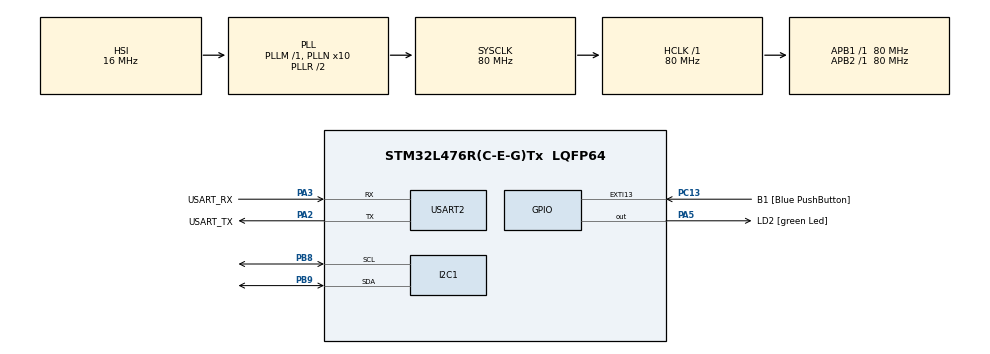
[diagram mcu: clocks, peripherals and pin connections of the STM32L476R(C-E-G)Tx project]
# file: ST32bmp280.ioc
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I2C1.Timing=0x10909CEC
Mcu.Family=STM32L4
Mcu.Name=STM32L476R(C-E-G)Tx
Mcu.Package=LQFP64
NVIC.PriorityGroup=NVIC_PRIORITYGROUP_4
PA13\ (JTMS-SWDIO).GPIO_Label=TMS
PA13\ (JTMS-SWDIO).Mode=Serial_Wire
PA13\ (JTMS-SWDIO).Signal=SYS_JTMS-SWDIO
PA14\ (JTCK-SWCLK).GPIO_Label=TCK
PA14\ (JTCK-SWCLK).Mode=Serial_Wire
PA14\ (JTCK-SWCLK).Signal=SYS_JTCK-SWCLK
PA2.GPIO_Label=USART_TX
PA2.GPIO_Mode=GPIO_MODE_AF_PP
PA2.GPIO_PuPd=GPIO_NOPULL
PA2.GPIO_Speed=GPIO_SPEED_FREQ_VERY_HIGH
PA2.Mode=Asynchronous
PA2.Signal=USART2_TX
PA3.GPIO_Label=USART_RX
PA3.GPIO_Mode=GPIO_MODE_AF_PP
PA3.GPIO_PuPd=GPIO_NOPULL
PA3.GPIO_Speed=GPIO_SPEED_FREQ_VERY_HIGH
PA3.Mode=Asynchronous
PA3.Signal=USART2_RX
PA5.GPIO_Label=LD2 [green Led]
PA5.GPIO_ModeDefaultOutputPP=GPIO_MODE_OUTPUT_PP
PA5.GPIO_PuPd=GPIO_NOPULL
PA5.GPIO_Speed=GPIO_SPEED_FREQ_LOW
PA5.Signal=GPIO_Output
PB3\ (JTDO-TRACESWO).GPIO_Label=SWO
PB3\ (JTDO-TRACESWO).Signal=SYS_JTDO-SWO
PB8.Mode=I2C
PB8.Signal=I2C1_SCL
PB9.Mode=I2C
PB9.Signal=I2C1_SDA
PC13.GPIO_Label=B1 [Blue PushButton]
PC13.GPIO_ModeDefaultEXTI=GPIO_MODE_IT_FALLING
PC13.GPIO_PuPd=GPIO_NOPULL
PC13.Signal=GPXTI13
PC14-OSC32_IN\ (PC14).Mode=LSE-External-Oscillator
PC14-OSC32_IN\ (PC14).Signal=RCC_OSC32_IN
PC15-OSC32_OUT\ (PC15).Mode=LSE-External-Oscillator
PC15-OSC32_OUT\ (PC15).Signal=RCC_OSC32_OUT
PH0-OSC_IN\ (PH0).Signal=RCC_OSC_IN
PH1-OSC_OUT\ (PH1).Signal=RCC_OSC_OUT
ProjectManager.HeapSize=0x200
ProjectManager.StackSize=0x400
ProjectManager.TargetToolchain=STM32CubeIDE
RCC.ADCFreq_Value=64000000
RCC.AHBFreq_Value=80000000
RCC.APB1Freq_Value=80000000
RCC.APB1TimFreq_Value=80000000
RCC.APB2Freq_Value=80000000
RCC.APB2TimFreq_Value=80000000
RCC.CortexFreq_Value=80000000
RCC.HCLKFreq_Value=80000000
RCC.HSE_VALUE=8000000
RCC.HSI_VALUE=16000000
RCC.MSI_VALUE=4000000
RCC.PLLN=10
RCC.PLLSourceVirtual=RCC_PLLSOURCE_HSI
RCC.PREFETCH_ENABLE=1
RCC.SYSCLKFreq_VALUE=80000000
RCC.SYSCLKSource=RCC_SYSCLKSOURCE_PLLCLK
RCC.USBFreq_Value=64000000
RCC.VCOOutputFreq_Value=160000000
USART2.VirtualMode-Asynchronous=VM_ASYNC
board=NUCLEO-L476RG

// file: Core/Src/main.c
/* USER CODE BEGIN Header */
/**
  ******************************************************************************
  * @file           : main.c
  * @brief          : Main program body
  ******************************************************************************
  * @attention
  *
  * Copyright (c) 2022 STMicroelectronics.
  * All rights reserved.
  *
  * This software is licensed under terms that can be found in the LICENSE file
  * in the root directory of this software component.
  * If no LICENSE file comes with this software, it is provided AS-IS.
  *
  ******************************************************************************
  */
/* USER CODE END Header */
#include <stdio.h>
#include "main.h"
#include "stm32l4xx_hal.h"
#include "i2c.h"
#include "usart.h"
#include "gpio.h"

/* USER CODE BEGIN Includes */
#include "BMP280/bmp280.h"
/* USER CODE END Includes */

BMP280_HandleTypedef bmp280;

float pressure, temperature, humidity;

uint16_t size;
uint8_t Data[256];

void SystemClock_Config(void);

int main(void)
{

  /* MCU Configuration--------------------------------------------------------*/

  /* Reset of all peripherals, Initializes the Flash interface and the Systick. */
  HAL_Init();

  /* Configure the system clock */
  SystemClock_Config();

  /* Initialize all configured peripherals */
  MX_GPIO_Init();
  MX_USART2_UART_Init();
  MX_I2C1_Init();
  /* USER CODE BEGIN 2 */
  bmp280_init_default_params(&bmp280.params);
  bmp280.addr = BMP280_I2C_ADDRESS_0;
  bmp280.i2c = &hi2c1;

  while (!bmp280_init(&bmp280, &bmp280.params)){
	  size = sprintf((char*)Data, "BMP280 Initialization failed\n");
	  HAL_UART_Transmit(&huart2, Data, size, 1000);
	  HAL_Delay(2000);

  }
  bool bme280p = bmp280.id == BME280_CHIP_ID;
  size = sprintf((char*)Data, "BMP280: Found %s\n", bme280p ? "BME280" : "BMP280");
  HAL_UART_Transmit(&huart2, Data, size, 1000);

  /* USER CODE END 2 */

  /* Infinite loop */
  while (1)
  {

    /* USER CODE BEGIN 3 */
	  HAL_Delay(100);
	  while (!bmp280_read_float(&bmp280, &temperature, &pressure, &humidity)){
		  size = sprintf((char*)Data,
				  "Termperature/pressure reading failed\n");
		  HAL_UART_Transmit(&huart2, Data, size, 1000);
		  HAL_Delay(2000);
	  }
	  size = sprintf((char*)Data, ", Pressure: %.2f Pa, Temperature: %.2f C,",
			  pressure, temperature);
	  HAL_UART_Transmit(&huart2, Data, size, 1000);
	  if (bme280p){
		  size = sprintf((char*)Data, ", Humidity: %.2f\n", humidity);
		  HAL_UART_Transmit(&huart2, Data, size, 1000);
	  }

	  else{
		  size = sprintf((char*)Data, "\n");
		  HAL_UART_Transmit(&huart2, Data, size, 1000);

	  }
	  HAL_Delay(2000);

  }
  /* USER CODE END 3 */
}

void SystemClock_Config(void)
{
  RCC_OscInitTypeDef RCC_OscInitStruct = {0};
  RCC_ClkInitTypeDef RCC_ClkInitStruct = {0};

  /** Configure the main internal regulator output voltage
  */
  if (HAL_PWREx_ControlVoltageScaling(PWR_REGULATOR_VOLTAGE_SCALE1) != HAL_OK)
  {
    Error_Handler();
  }

  /** Initializes the RCC Oscillators according to the specified parameters
  * in the RCC_OscInitTypeDef structure.
  */
  RCC_OscInitStruct.OscillatorType = RCC_OSCILLATORTYPE_HSI;
  RCC_OscInitStruct.HSIState = RCC_HSI_ON;
  RCC_OscInitStruct.HSICalibrationValue = RCC_HSICALIBRATION_DEFAULT;
  RCC_OscInitStruct.PLL.PLLState = RCC_PLL_ON;
  RCC_OscInitStruct.PLL.PLLSource = RCC_PLLSOURCE_HSI;
  RCC_OscInitStruct.PLL.PLLM = 1;
  RCC_OscInitStruct.PLL.PLLN = 10;
  RCC_OscInitStruct.PLL.PLLP = RCC_PLLP_DIV7;
  RCC_OscInitStruct.PLL.PLLQ = RCC_PLLQ_DIV2;
  RCC_OscInitStruct.PLL.PLLR = RCC_PLLR_DIV2;
  if (HAL_RCC_OscConfig(&RCC_OscInitStruct) != HAL_OK)
  {
    Error_Handler();
  }

  /** Initializes the CPU, AHB and APB buses clocks
  */
  RCC_ClkInitStruct.ClockType = RCC_CLOCKTYPE_HCLK|RCC_CLOCKTYPE_SYSCLK
                              |RCC_CLOCKTYPE_PCLK1|RCC_CLOCKTYPE_PCLK2;
  RCC_ClkInitStruct.SYSCLKSource = RCC_SYSCLKSOURCE_PLLCLK;
  RCC_ClkInitStruct.AHBCLKDivider = RCC_SYSCLK_DIV1;
  RCC_ClkInitStruct.APB1CLKDivider = RCC_HCLK_DIV1;
  RCC_ClkInitStruct.APB2CLKDivider = RCC_HCLK_DIV1;

  if (HAL_RCC_ClockConfig(&RCC_ClkInitStruct, FLASH_LATENCY_4) != HAL_OK)
  {
    Error_Handler();
  }
}

void Error_Handler(void)
{
  __disable_irq();
  while (1)
  {
  }
}
